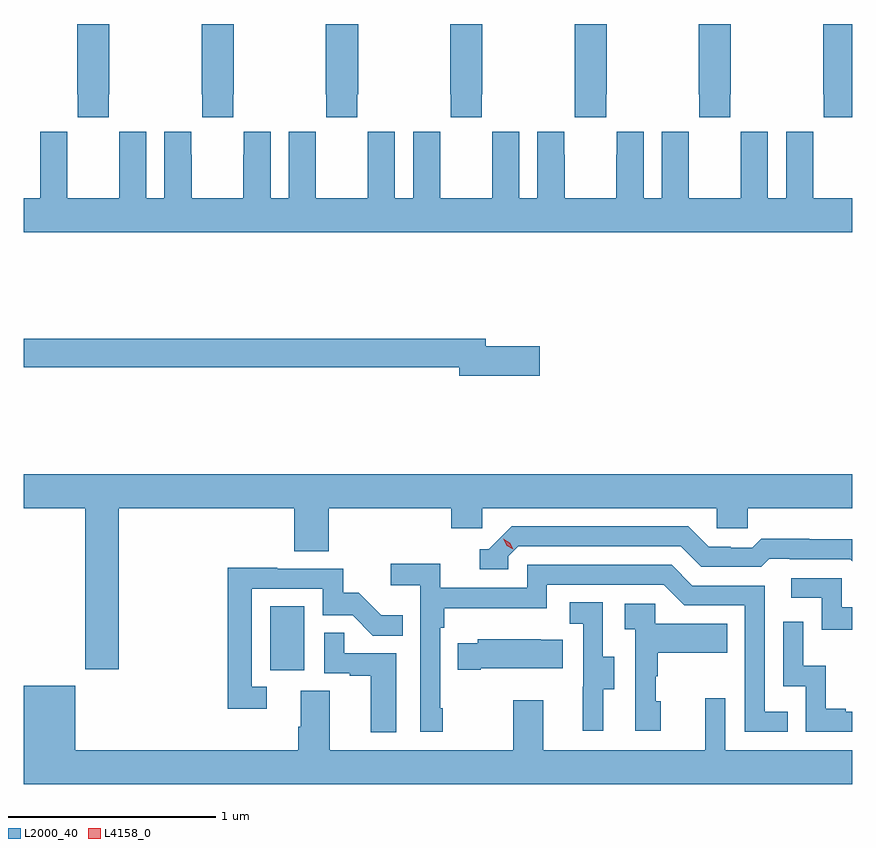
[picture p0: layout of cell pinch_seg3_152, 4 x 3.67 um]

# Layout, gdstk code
import gdstk
lib = gdstk.Library(unit=1e-6, precision=1e-09)
def R(c, l, rs):  # rectangles x0, y0, x1, y1
    for r in rs: c.add(gdstk.rectangle(r[:2], r[2:], *l))
def P(c, l, *ps):  # polygons
    for p in ps: c.add(gdstk.Polygon(p, *l))
L2000_40 = (2000, 40)
L4158_0 = (4158, 0)

pinch_seg3_152 = lib.new_cell('pinch_seg3_152')
R(pinch_seg3_152, L2000_40, [(1090.394,721.446,1090.558,721.753)])
P(pinch_seg3_152, L2000_40, [(1090.215,724.225),(1090.218,724.225),(1090.218,724.564),(1090.063,724.564),(1090.063,724.225),(1090.065,724.225),(1090.065,724.113),(1090.215,724.113)],
  [(1090.815,724.225),(1090.818,724.225),(1090.818,724.564),(1090.663,724.564),(1090.663,724.225),(1090.665,724.225),(1090.665,724.113),(1090.815,724.113)],
  [(1091.415,724.225),(1091.418,724.225),(1091.418,724.564),(1091.263,724.564),(1091.263,724.225),(1091.265,724.225),(1091.265,724.113),(1091.415,724.113)],
  [(1092.015,724.225),(1092.018,724.225),(1092.018,724.564),(1091.863,724.564),(1091.863,724.225),(1091.865,724.225),(1091.865,724.113),(1092.015,724.113)],
  [(1092.615,724.225),(1092.618,724.225),(1092.618,724.564),(1092.463,724.564),(1092.463,724.225),(1092.465,724.225),(1092.465,724.113),(1092.615,724.113)],
  [(1093.204,724.564),(1093.063,724.564),(1093.063,724.225),(1093.065,724.225),(1093.065,724.113),(1093.204,724.113)],
  [(1089.615,724.225),(1089.618,724.225),(1089.618,724.564),(1089.463,724.564),(1089.463,724.225),(1089.465,724.225),(1089.465,724.113),(1089.615,724.113)],
  [(1093.204,723.724),(1093.015,723.724),(1093.015,723.932),(1093.014,723.932),(1093.014,724.045),(1092.884,724.045),(1092.884,723.724),(1092.796,723.724),(1092.796,724.045),(1092.666,724.045),(1092.666,723.932),(1092.665,723.932),(1092.665,723.724),(1092.415,723.724),(1092.415,723.932),(1092.414,723.932),(1092.414,724.045),(1092.284,724.045),(1092.284,723.724),(1092.196,723.724),(1092.196,724.045),(1092.066,724.045),(1092.066,723.932),(1092.065,723.932),(1092.065,723.724),(1091.815,723.724),(1091.815,723.932),(1091.814,723.932),(1091.814,724.045),(1091.684,724.045),(1091.684,723.724),(1091.596,723.724),(1091.596,724.045),(1091.466,724.045),(1091.466,723.932),(1091.465,723.932),(1091.465,723.724),(1091.215,723.724),(1091.215,723.932),(1091.214,723.932),(1091.214,724.045),(1091.084,724.045),(1091.084,723.724),(1090.996,723.724),(1090.996,724.045),(1090.866,724.045),(1090.866,723.932),(1090.865,723.932),(1090.865,723.724),(1090.615,723.724),(1090.615,723.932),(1090.614,723.932),(1090.614,724.045),(1090.484,724.045),(1090.484,723.724),(1090.396,723.724),(1090.396,724.045),(1090.266,724.045),(1090.266,723.932),(1090.265,723.932),(1090.265,723.724),(1090.015,723.724),(1090.015,723.932),(1090.014,723.932),(1090.014,724.045),(1089.884,724.045),(1089.884,723.724),(1089.796,723.724),(1089.796,724.045),(1089.666,724.045),(1089.666,723.932),(1089.665,723.932),(1089.665,723.724),(1089.415,723.724),(1089.415,723.932),(1089.414,723.932),(1089.414,724.045),(1089.284,724.045),(1089.284,723.724),(1089.204,723.724),(1089.204,723.56),(1093.204,723.56)],
  [(1091.695,723.008),(1091.434,723.008),(1091.434,723.044),(1089.204,723.044),(1089.204,722.908),(1091.306,722.908),(1091.306,722.866),(1091.695,722.866)],
  [(1089.662,722.228),(1090.511,722.228),(1090.511,722.02),(1090.676,722.02),(1090.676,722.228),(1091.267,722.228),(1091.267,722.13),(1091.418,722.13),(1091.418,722.228),(1092.549,722.228),(1092.549,722.13),(1092.699,722.13),(1092.699,722.228),(1093.204,722.228),(1093.204,722.392),(1089.204,722.392),(1089.204,722.228),(1089.502,722.228),(1089.502,721.449),(1089.662,721.449)],
  [(1091.544,721.995),(1091.592,722.043),(1092.375,722.043),(1092.474,721.944),(1092.763,721.944),(1092.802,721.983),(1092.901,721.983),(1092.901,721.98),(1093.194,721.98),(1093.204,721.97),(1093.204,722.077),(1092.996,722.077),(1092.996,722.08),(1092.763,722.08),(1092.721,722.037),(1092.618,722.037),(1092.618,722.04),(1092.511,722.04),(1092.412,722.139),(1091.559,722.139),(1091.448,722.028),(1091.405,722.028),(1091.405,721.932),(1091.544,721.932)],
  [(1091.227,721.261),(1091.214,721.261),(1091.214,721.649),(1091.234,721.649),(1091.234,721.745),(1091.73,721.745),(1091.73,721.857),(1092.294,721.857),(1092.393,721.758),(1092.684,721.758),(1092.684,721.149),(1092.893,721.149),(1092.893,721.245),(1092.78,721.245),(1092.78,721.854),(1092.43,721.854),(1092.331,721.953),(1091.634,721.953),(1091.634,721.842),(1091.216,721.842),(1091.216,721.958),(1090.977,721.958),(1090.977,721.856),(1091.118,721.856),(1091.118,721.149),(1091.227,721.149)],
  [(1090.378,721.365),(1090.305,721.365),(1090.305,721.839),(1090.647,721.839),(1090.647,721.71),(1090.792,721.71),(1090.89,721.612),(1091.033,721.612),(1091.033,721.711),(1090.929,721.711),(1090.822,721.818),(1090.746,721.818),(1090.746,721.935),(1090.427,721.935),(1090.427,721.94),(1090.189,721.94),(1090.189,721.26),(1090.378,721.26)],
  [(1093.204,721.749),(1093.152,721.749),(1093.152,721.89),(1092.909,721.89),(1092.909,721.794),(1093.056,721.794),(1093.056,721.641),(1093.204,721.641)],
  [(1092.001,721.354),(1092.055,721.354),(1092.055,721.509),(1092,721.509),(1092,721.772),(1091.841,721.772),(1091.841,721.669),(1091.904,721.669),(1091.904,721.365),(1091.903,721.365),(1091.903,721.152),(1092.001,721.152)],
  [(1092.28,721.296),(1092.255,721.296),(1092.255,721.415),(1092.265,721.415),(1092.265,721.529),(1092.599,721.529),(1092.599,721.669),(1092.252,721.669),(1092.252,721.767),(1092.105,721.767),(1092.105,721.643),(1092.156,721.643),(1092.156,721.152),(1092.28,721.152)],
  [(1093.204,721.245),(1093.171,721.245),(1093.171,721.258),(1093.076,721.258),(1093.076,721.466),(1092.966,721.466),(1092.966,721.678),(1092.87,721.678),(1092.87,721.368),(1092.978,721.368),(1092.978,721.149),(1093.204,721.149)],
  [(1091.002,721.527),(1090.751,721.527),(1090.751,721.625),(1090.656,721.625),(1090.656,721.431),(1090.777,721.431),(1090.777,721.419),(1090.88,721.419),(1090.88,721.145),(1091.002,721.145)],
  [(1091.41,721.454),(1091.807,721.454),(1091.807,721.591),(1091.699,721.591),(1091.699,721.594),(1091.397,721.594),(1091.397,721.576),(1091.299,721.576),(1091.299,721.447),(1091.41,721.447)],
  [(1093.204,721.06),(1092.591,721.06),(1092.591,721.309),(1092.494,721.309),(1092.494,721.06),(1091.713,721.06),(1091.713,721.3),(1091.566,721.3),(1091.566,721.06),(1090.681,721.06),(1090.681,721.346),(1090.541,721.346),(1090.541,721.172),(1090.529,721.172),(1090.529,721.06),(1089.454,721.06),(1089.454,721.369),(1089.204,721.369),(1089.204,720.896),(1093.204,720.896)])
P(pinch_seg3_152, L4158_0, [(1091.566,722.028),(1091.535,722.047),(1091.519,722.079),(1091.519,722.08),(1091.519,722.08),(1091.55,722.06),(1091.567,722.028),(1091.567,722.028)])

lib.write_gds('pinch_seg3_152.gds')
